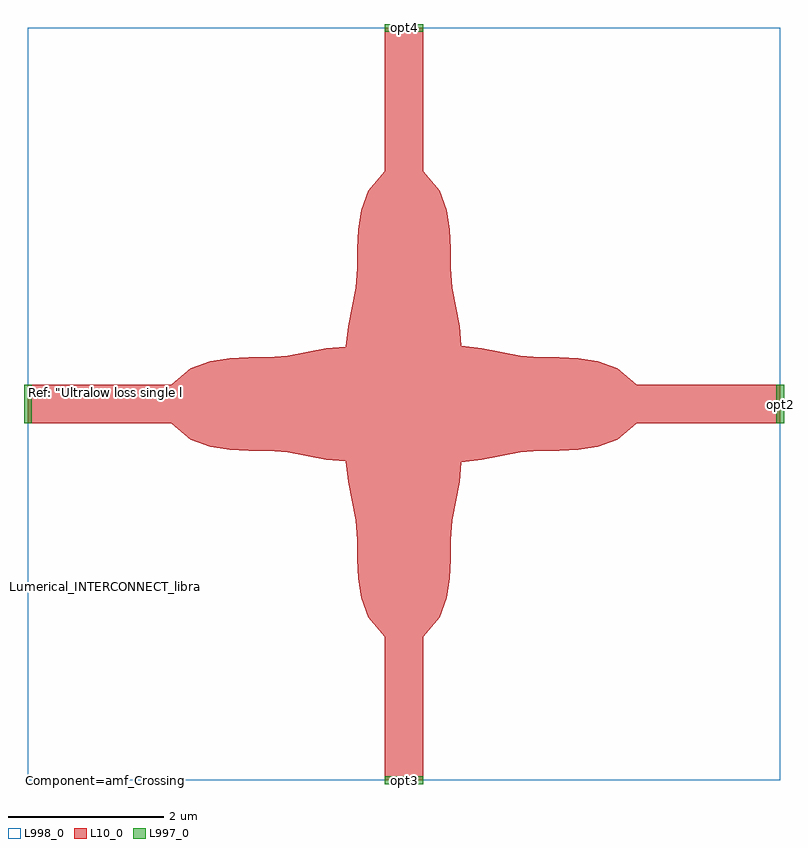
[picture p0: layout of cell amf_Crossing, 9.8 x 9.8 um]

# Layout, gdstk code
import gdstk
lib = gdstk.Library(unit=1e-6, precision=1e-09)
def R(c, l, rs):  # rectangles x0, y0, x1, y1
    for r in rs: c.add(gdstk.rectangle(r[:2], r[2:], *l))
def P(c, l, *ps):  # polygons
    for p in ps: c.add(gdstk.Polygon(p, *l))
L10_0 = (10, 0)
L997_0 = (997, 0)
L998_0 = (998, 0)

amf_crossing = lib.new_cell('amf_Crossing')
R(amf_crossing, L10_0, [(4.6,0,5.1,0.5), (0,4.6,0.45,5.1), (9.25,4.6,9.7,5.1), (4.6,9.2,5.1,9.7)])
P(amf_crossing, L10_0, [(4.6,0),(4.6,1.85),(4.39,2.1),(4.3,2.35),(4.26,2.6),(4.25,2.85),(4.25,3.1),(4.23,3.35),(4.13,3.85),(4.1,4.11),(3.85,4.13),(3.35,4.23),(3.1,4.25),(2.85,4.25),(2.6,4.26),(2.35,4.3),(2.1,4.39),(1.85,4.6),(0,4.6),(0,5.1),(1.85,5.1),(2.1,5.31),(2.35,5.4),(2.6,5.44),(2.85,5.45),(3.1,5.45),(3.35,5.47),(3.85,5.57),(4.1,5.59),(4.13,5.85),(4.23,6.35),(4.25,6.6),(4.25,6.85),(4.26,7.1),(4.3,7.35),(4.39,7.6),(4.6,7.85),(4.6,9.7),(5.1,9.7),(5.1,7.85),(5.31,7.6),(5.4,7.35),(5.44,7.1),(5.45,6.85),(5.45,6.6),(5.47,6.35),(5.57,5.85),(5.59,5.6),(5.85,5.57),(6.35,5.47),(6.6,5.45),(6.85,5.45),(7.1,5.44),(7.35,5.4),(7.6,5.31),(7.85,5.1),(9.7,5.1),(9.7,4.6),(7.85,4.6),(7.6,4.39),(7.35,4.3),(7.1,4.26),(6.85,4.25),(6.6,4.25),(6.35,4.23),(5.85,4.13),(5.59,4.1),(5.57,3.85),(5.47,3.35),(5.45,3.1),(5.45,2.85),(5.44,2.6),(5.4,2.35),(5.31,2.1),(5.1,1.85),(5.1,0)])
R(amf_crossing, L998_0, [(0,0,9.7,9.7)])
amf_crossing.add(gdstk.FlexPath([(4.85,9.65),(4.85,9.75)], 0.5, ends="flush", simple_path=True, layer=997, datatype=0))  # L997_0
amf_crossing.add(gdstk.FlexPath([(0.05,4.85),(-0.05,4.85)], 0.5, ends="flush", simple_path=True, layer=997, datatype=0))  # L997_0
amf_crossing.add(gdstk.FlexPath([(4.85,0.05),(4.85,-0.05)], 0.5, ends="flush", simple_path=True, layer=997, datatype=0))  # L997_0
amf_crossing.add(gdstk.FlexPath([(9.65,4.85),(9.75,4.85)], 0.5, ends="flush", simple_path=True, layer=997, datatype=0))  # L997_0
amf_crossing.add(gdstk.Label('Ref: "Ultralow loss single layer submicron silicon waveguide crossing for SOI optical interconnect" Yangjin Ma et al.', (1,5), layer=1003, texttype=0))
amf_crossing.add(gdstk.Label('opt4', (4.85,9.7), layer=997, texttype=0))
amf_crossing.add(gdstk.Label('opt1', (0,4.85), layer=997, texttype=0))
amf_crossing.add(gdstk.Label('opt3', (4.85,0), layer=997, texttype=0))
amf_crossing.add(gdstk.Label('opt2', (9.7,4.85), layer=997, texttype=0))
amf_crossing.add(gdstk.Label('Lumerical_INTERCONNECT_library=Design kits/SiEPIC_AMF', (1,2.5), layer=998, texttype=0))
amf_crossing.add(gdstk.Label('Component=amf_Crossing', (1,0), layer=998, texttype=0))

lib.write_gds('amf_Crossing.gds')
